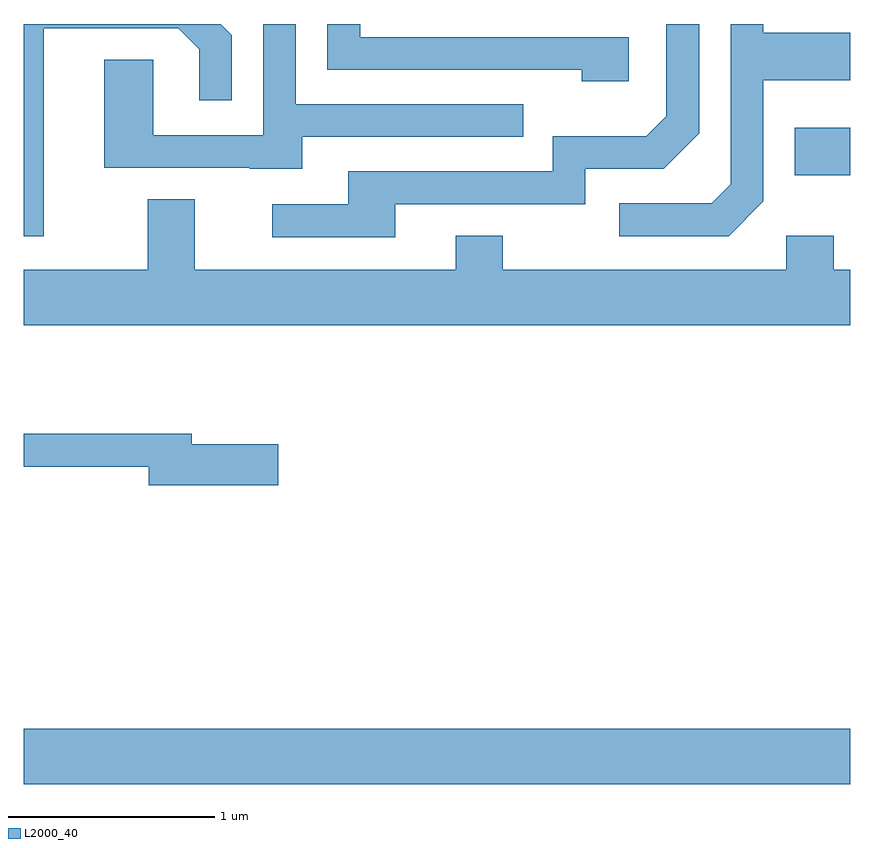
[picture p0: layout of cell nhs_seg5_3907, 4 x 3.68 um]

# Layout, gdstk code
import gdstk
lib = gdstk.Library(unit=1e-6, precision=1e-09)
def R(c, l, rs):  # rectangles x0, y0, x1, y1
    for r in rs: c.add(gdstk.rectangle(r[:2], r[2:], *l))
def P(c, l, *ps):  # polygons
    for p in ps: c.add(gdstk.Polygon(p, *l))
L2000_40 = (2000, 40)

nhs_seg5_3907 = lib.new_cell('nhs_seg5_3907')
R(nhs_seg5_3907, L2000_40, [(301.611,1412.396,305.611,1412.664), (305.341,1415.341,305.611,1415.569)])
P(nhs_seg5_3907, L2000_40, [(305.189,1415.214),(305.189,1415.801),(305.611,1415.801),(305.611,1416.029),(305.189,1416.029),(305.189,1416.072),(305.031,1416.072),(305.031,1415.297),(304.939,1415.204),(304.493,1415.204),(304.493,1415.046),(305.022,1415.046)],
  [(302.959,1415.526),(304.028,1415.526),(304.028,1415.684),(302.929,1415.684),(302.929,1416.072),(302.771,1416.072),(302.771,1415.534),(302.239,1415.534),(302.239,1415.899),(302.001,1415.899),(302.001,1415.376),(302.705,1415.376),(302.705,1415.371),(302.959,1415.371)],
  [(304.539,1416.009),(303.239,1416.009),(303.239,1416.072),(303.081,1416.072),(303.081,1415.851),(304.311,1415.851),(304.311,1415.796),(304.539,1415.796)],
  [(303.409,1415.201),(304.329,1415.201),(304.329,1415.371),(304.707,1415.371),(304.879,1415.544),(304.879,1416.072),(304.721,1416.072),(304.721,1415.627),(304.624,1415.529),(304.171,1415.529),(304.171,1415.359),(303.181,1415.359),(303.181,1415.199),(302.813,1415.199),(302.813,1415.041),(303.409,1415.041)],
  [(301.709,1416.051),(302.359,1416.051),(302.461,1415.949),(302.461,1415.703),(302.619,1415.703),(302.619,1416.017),(302.564,1416.072),(301.611,1416.072),(301.611,1415.046),(301.709,1415.046)],
  [(305.611,1414.884),(305.529,1414.884),(305.529,1415.049),(305.301,1415.049),(305.301,1414.884),(303.929,1414.884),(303.929,1415.049),(303.701,1415.049),(303.701,1414.884),(302.439,1414.884),(302.439,1415.224),(302.211,1415.224),(302.211,1414.884),(301.611,1414.884),(301.611,1414.616),(305.611,1414.616)],
  [(302.844,1414.039),(302.424,1414.039),(302.424,1414.089),(301.611,1414.089),(301.611,1413.931),(302.216,1413.931),(302.216,1413.841),(302.844,1413.841)])

lib.write_gds('nhs_seg5_3907.gds')
